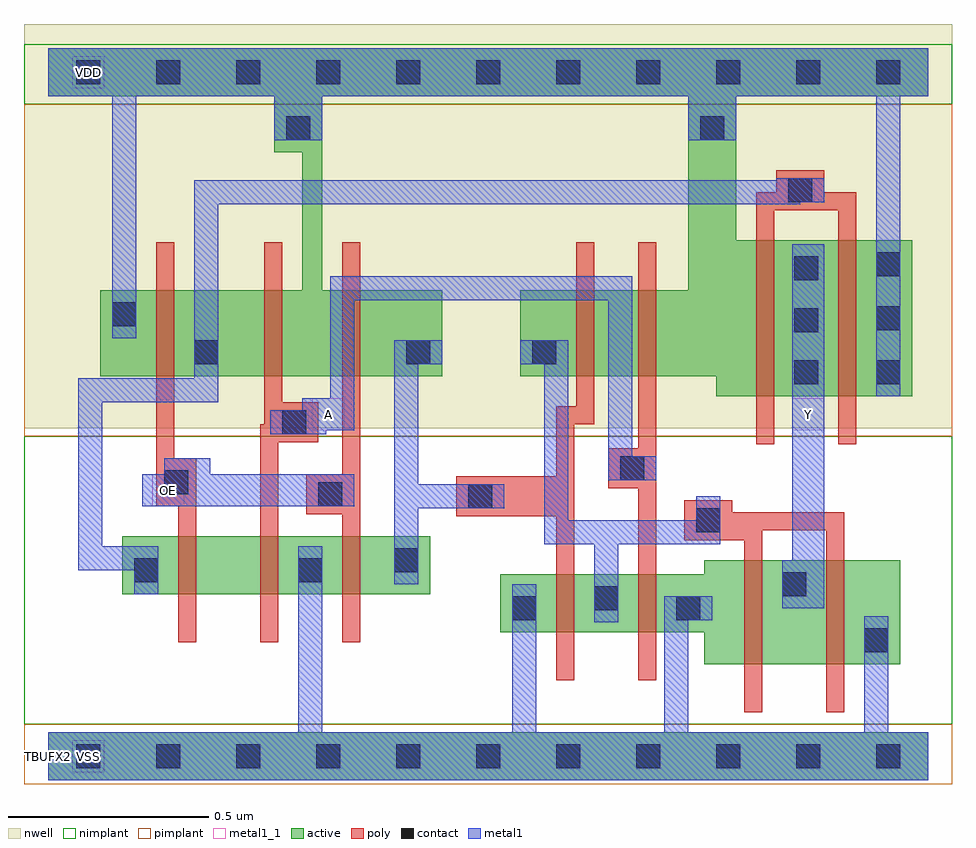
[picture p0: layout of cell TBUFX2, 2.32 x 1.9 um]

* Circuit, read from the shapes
.subckt TBUFX2 A OE VDD VSS Y
M1 n1 OE n2 VSS nfet w=0.145u l=0.045u
M2 VSS A n1 VSS nfet w=0.145u l=0.045u
M3 n3 OE VSS VSS nfet w=0.145u l=0.045u
M4 n4 n3 VSS VSS nfet w=0.145u l=0.045u
M5 VSS A n4 VSS nfet w=0.145u l=0.045u
M6 Y n4 VSS VSS nfet w=0.26u l=0.045u m=2
M7 n2 OE VDD VDD pfet w=0.215u l=0.045u
M8 VDD A n2 VDD pfet w=0.215u l=0.045u
M9 n3 OE VDD VDD pfet w=0.215u l=0.045u
M10 n5 n3 n4 VDD pfet w=0.215u l=0.045u
M11 VDD A n5 VDD pfet w=0.215u l=0.045u
M12 Y n2 VDD VDD pfet w=0.39u l=0.045u m=2
.ends

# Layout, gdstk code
import gdstk
lib = gdstk.Library(unit=1e-6, precision=5e-10)
def R(c, l, rs):  # rectangles x0, y0, x1, y1
    for r in rs: c.add(gdstk.rectangle(r[:2], r[2:], *l))
def A(c, l, x, y, w, h, nx, ny, dx, dy):  # array of equal rectangles
    R(c, l, [(x+i*dx, y+j*dy, x+i*dx+w, y+j*dy+h) for i in range(nx) for j in range(ny)])
def P(c, l, *ps):  # polygons
    for p in ps: c.add(gdstk.Polygon(p, *l))
active = (1, 0)
nwell = (2, 0)
poly = (3, 0)
nimplant = (4, 0)
pimplant = (5, 0)
contact = (6, 0)
metal1 = (7, 0)
metal1_1 = (7, 1)

tbufx2 = lib.new_cell('TBUFX2')
R(tbufx2, active, [(0,-0.06,2.2,0.06), (0.185,0.405,0.955,0.55)])
P(tbufx2, active, [(0,1.77),(2.2,1.77),(2.2,1.65),(1.72,1.65),(1.72,1.29),(2.16,1.29),(2.16,0.9),(1.67,0.9),(1.67,0.95),(1.18,0.95),(1.18,1.165),(1.6,1.165),(1.6,1.65),(0.685,1.65),(0.685,1.165),(0.985,1.165),(0.985,0.95),(0.13,0.95),(0.13,1.165),(0.635,1.165),(0.635,1.51),(0.565,1.51),(0.565,1.65),(0,1.65)],
  [(1.64,0.49),(2.13,0.49),(2.13,0.23),(1.64,0.23),(1.64,0.31),(1.13,0.31),(1.13,0.455),(1.64,0.455)])
R(tbufx2, nwell, [(-0.06,0.82,2.26,1.83)])
P(tbufx2, poly, [(0.27,1.285),(0.315,1.285),(0.315,0.745),(0.37,0.745),(0.37,0.285),(0.325,0.285),(0.325,0.625),(0.27,0.625)],
  [(0.54,1.285),(0.585,1.285),(0.585,0.885),(0.675,0.885),(0.675,0.785),(0.575,0.785),(0.575,0.285),(0.53,0.285),(0.53,0.83),(0.54,0.83)],
  [(0.735,1.285),(0.78,1.285),(0.78,0.285),(0.735,0.285),(0.735,0.605),(0.645,0.605),(0.645,0.705),(0.735,0.705)],
  [(1.32,1.285),(1.365,1.285),(1.365,0.83),(1.315,0.83),(1.315,0.19),(1.27,0.19),(1.27,0.6),(1.02,0.6),(1.02,0.7),(1.27,0.7),(1.27,0.875),(1.32,0.875)],
  [(1.475,1.285),(1.52,1.285),(1.52,0.19),(1.475,0.19),(1.475,0.67),(1.4,0.67),(1.4,0.77),(1.475,0.77)],
  [(1.82,1.465),(1.94,1.465),(1.94,1.41),(2.02,1.41),(2.02,0.78),(1.975,0.78),(1.975,1.365),(1.815,1.365),(1.815,0.78),(1.77,0.78),(1.77,1.41),(1.82,1.41)],
  [(1.59,0.64),(1.71,0.64),(1.71,0.61),(1.99,0.61),(1.99,0.11),(1.945,0.11),(1.945,0.565),(1.785,0.565),(1.785,0.11),(1.74,0.11),(1.74,0.54),(1.59,0.54)])
R(tbufx2, nimplant, [(-0.06,0.08,2.26,0.8), (-0.06,1.63,2.26,1.78)])
R(tbufx2, pimplant, [(-0.06,-0.07,2.26,0.08), (-0.06,0.8,2.26,1.63)])
A(tbufx2, contact, 0.07, -0.03, 0.06, 0.06, 11, 2, 0.2, 1.71)
A(tbufx2, contact, 1.865, 0.93, 0.06, 0.06, 1, 3, 0, 0.13)
A(tbufx2, contact, 2.07, 0.93, 0.06, 0.06, 1, 3, 0, 0.135)
R(tbufx2, contact, [(2.04,0.26,2.1,0.32), (1.16,0.34,1.22,0.4), (1.57,0.34,1.63,0.4), (1.365,0.365,1.425,0.425), (1.835,0.4,1.895,0.46), (0.215,0.435,0.275,0.495), (0.625,0.435,0.685,0.495), (0.865,0.46,0.925,0.52), (1.62,0.56,1.68,0.62), (1.05,0.62,1.11,0.68), (0.675,0.625,0.735,0.685), (0.29,0.655,0.35,0.715), (1.43,0.69,1.49,0.75), (0.585,0.805,0.645,0.865), (0.365,0.98,0.425,1.04), (0.895,0.98,0.955,1.04), (1.21,0.98,1.27,1.04), (0.16,1.075,0.22,1.135), (1.85,1.385,1.91,1.445), (0.595,1.54,0.655,1.6), (1.63,1.54,1.69,1.6)])
P(tbufx2, metal1, [(0,1.77),(2.2,1.77),(2.2,1.65),(2.13,1.65),(2.13,0.9),(2.07,0.9),(2.07,1.65),(1.72,1.65),(1.72,1.54),(1.6,1.54),(1.6,1.65),(0.685,1.65),(0.685,1.54),(0.565,1.54),(0.565,1.65),(0.22,1.65),(0.22,1.045),(0.16,1.045),(0.16,1.65),(0,1.65)],
  [(1.82,1.445),(1.94,1.445),(1.94,1.385),(1.88,1.385),(1.88,1.38),(0.425,1.38),(0.425,0.885),(0.135,0.885),(0.135,0.525),(0.275,0.525),(0.275,0.405),(0.215,0.405),(0.215,0.465),(0.075,0.465),(0.075,0.945),(0.365,0.945),(0.365,1.44),(1.82,1.44)],
  [(0.705,1.2),(1.46,1.2),(1.46,0.75),(1.52,0.75),(1.52,0.69),(1.4,0.69),(1.4,1.14),(0.765,1.14),(0.765,0.815),(0.695,0.815),(0.695,0.805),(0.555,0.805),(0.555,0.865),(0.635,0.865),(0.635,0.895),(0.705,0.895)],
  [(0.865,1.04),(0.985,1.04),(0.985,0.98),(0.925,0.98),(0.925,0.68),(1.14,0.68),(1.14,0.62),(0.925,0.62),(0.925,0.43),(0.865,0.43)],
  [(1.18,1.04),(1.3,1.04),(1.3,0.59),(1.62,0.59),(1.62,0.65),(1.68,0.65),(1.68,0.53),(1.425,0.53),(1.425,0.335),(1.365,0.335),(1.365,0.53),(1.24,0.53),(1.24,0.98),(1.18,0.98)],
  [(0.29,0.745),(0.405,0.745),(0.405,0.705),(0.765,0.705),(0.765,0.625),(0.235,0.625),(0.235,0.705),(0.29,0.705)],
  [(1.86,1.28),(1.94,1.28),(1.94,0.37),(1.835,0.37),(1.835,0.49),(1.86,0.49)],
  [(0.625,0.525),(0.685,0.525),(0.685,0.06),(1.16,0.06),(1.16,0.43),(1.22,0.43),(1.22,0.06),(1.54,0.06),(1.54,0.4),(1.66,0.4),(1.66,0.34),(1.6,0.34),(1.6,0.06),(2.04,0.06),(2.04,0.35),(2.1,0.35),(2.1,0.06),(2.2,0.06),(2.2,-0.06),(0,-0.06),(0,0.06),(0.625,0.06)])
R(tbufx2, metal1_1, [(0.06,-0.04,0.14,0.04), (0.26,0.625,0.34,0.705), (0.66,0.815,0.74,0.895), (1.86,0.815,1.94,0.895), (0.06,1.67,0.14,1.75)])
tbufx2.add(gdstk.Label('Y', (1.9,0.855), layer=7, texttype=1))
tbufx2.add(gdstk.Label('A', (0.7,0.855), layer=7, texttype=1))
tbufx2.add(gdstk.Label('OE', (0.3,0.665), layer=7, texttype=1))
tbufx2.add(gdstk.Label('VDD', (0.1,1.71), layer=7, texttype=1))
tbufx2.add(gdstk.Label('VSS', (0.1,0), layer=7, texttype=1))
tbufx2.add(gdstk.Label('TBUFX2', (0,0), layer=63, texttype=0))

lib.write_gds('TBUFX2.gds')
